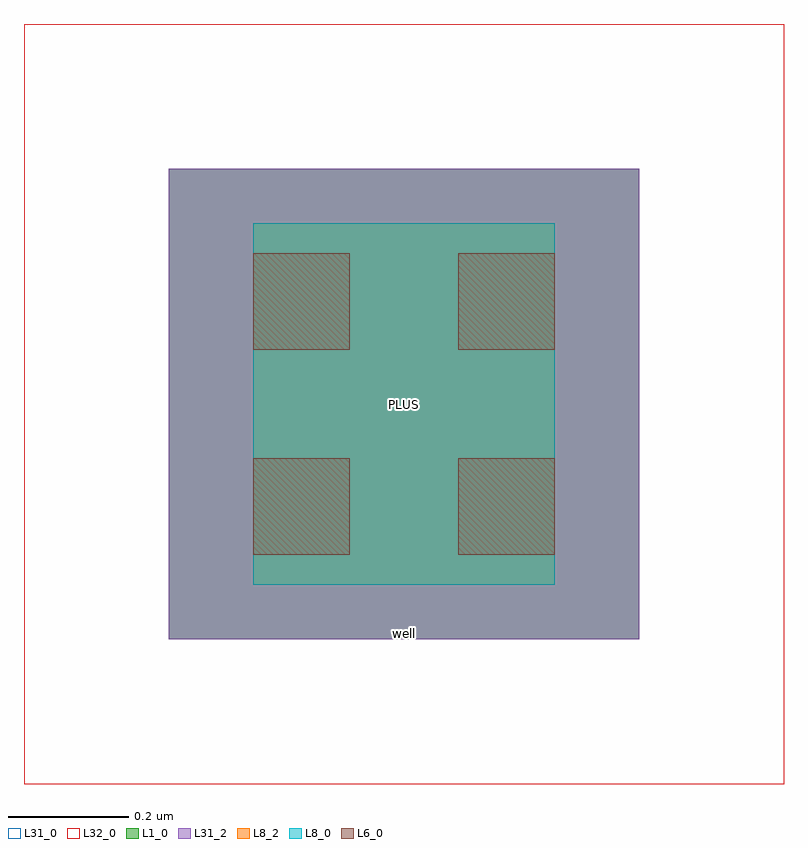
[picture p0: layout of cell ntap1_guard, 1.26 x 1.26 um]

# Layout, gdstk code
import gdstk
lib = gdstk.Library(unit=1e-6, precision=1e-09)
def R(c, l, rs):  # rectangles x0, y0, x1, y1
    for r in rs: c.add(gdstk.rectangle(r[:2], r[2:], *l))
L1_0 = (1, 0)
L6_0 = (6, 0)
L8_0 = (8, 0)
L8_2 = (8, 2)
L31_0 = (31, 0)
L31_2 = (31, 2)
L32_0 = (32, 0)

ntap1_guard = lib.new_cell('ntap1_guard')
R(ntap1_guard, L1_0, [(0,0,0.78,0.78)])
R(ntap1_guard, L6_0, [(0.14,0.14,0.3,0.3), (0.48,0.14,0.64,0.3), (0.14,0.48,0.3,0.64), (0.48,0.48,0.64,0.64)])
R(ntap1_guard, L8_0, [(0.14,0.09,0.64,0.69)])
R(ntap1_guard, L8_2, [(0.14,0.09,0.64,0.69), (0.14,0.14,0.64,0.64)])
R(ntap1_guard, L31_0, [(-0.24,-0.24,1.02,1.02), (0,0,0.78,0.78)])
R(ntap1_guard, L31_2, [(0,0,0.78,0.78)])
R(ntap1_guard, L32_0, [(-0.24,-0.24,1.02,1.02)])
ntap1_guard.add(gdstk.Label('well', (0.39,0.01), layer=63, texttype=0))
ntap1_guard.add(gdstk.Label('well', (0.39,0.01), layer=31, texttype=0))
ntap1_guard.add(gdstk.Label('PLUS', (0.39,0.39), layer=8, texttype=25))

lib.write_gds('ntap1_guard.gds')
